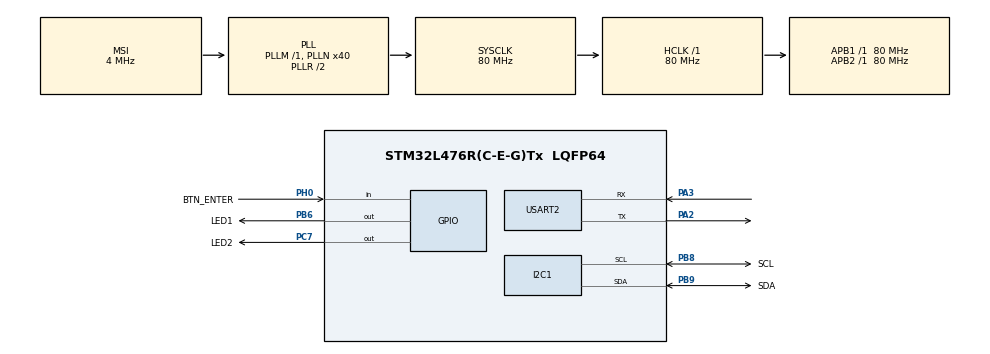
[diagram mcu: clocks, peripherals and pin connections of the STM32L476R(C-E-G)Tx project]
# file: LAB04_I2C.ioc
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I2C1.Timing=0x10909CEC
Mcu.Family=STM32L4
Mcu.Name=STM32L476R(C-E-G)Tx
Mcu.Package=LQFP64
NVIC.PriorityGroup=NVIC_PRIORITYGROUP_4
PA2.Mode=Asynchronous
PA2.Signal=USART2_TX
PA3.Mode=Asynchronous
PA3.Signal=USART2_RX
PB6.GPIO_Label=LED1
PB6.Signal=GPIO_Output
PB8.GPIO_Label=SCL
PB8.Mode=I2C
PB8.Signal=I2C1_SCL
PB9.GPIO_Label=SDA
PB9.Mode=I2C
PB9.Signal=I2C1_SDA
PC7.GPIO_Label=LED2
PC7.Signal=GPIO_Output
PH0-OSC_IN\ (PH0).GPIO_Label=BTN_ENTER
PH0-OSC_IN\ (PH0).Signal=GPIO_Input
ProjectManager.HeapSize=0x200
ProjectManager.StackSize=0x400
ProjectManager.TargetToolchain=STM32CubeIDE
RCC.AHBFreq_Value=80000000
RCC.APB1Freq_Value=80000000
RCC.APB1TimFreq_Value=80000000
RCC.APB2Freq_Value=80000000
RCC.APB2TimFreq_Value=80000000
RCC.CortexFreq_Value=80000000
RCC.HCLKFreq_Value=80000000
RCC.HSE_VALUE=8000000
RCC.HSI_VALUE=16000000
RCC.LSE_VALUE=32768
RCC.MSI_VALUE=4000000
RCC.PLLN=40
RCC.SYSCLKFreq_VALUE=80000000
RCC.SYSCLKSource=RCC_SYSCLKSOURCE_PLLCLK
RCC.VCOOutputFreq_Value=160000000
USART2.VirtualMode-Asynchronous=VM_ASYNC
board=custom

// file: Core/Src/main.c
/* USER CODE BEGIN Header */
/**
 * @file main.c
 * @brief STTS22H Driver Testbench
 * @author Philipp Schilk, 2023
 */
/* USER CODE END Header */
#include "main.h"

/* USER CODE BEGIN Includes */
#include "stts22h_driver.h"
#include <inttypes.h>
#include <stdio.h>
/* USER CODE END Includes */

I2C_HandleTypeDef hi2c1;

UART_HandleTypeDef huart2;

void SystemClock_Config(void);
static void MX_GPIO_Init(void);
static void MX_USART2_UART_Init(void);
static void MX_I2C1_Init(void);
/* USER CODE BEGIN PFP */
void test_driver(void);
void wait_for_button_press(void);

/* USER CODE END PFP */

int main(void) {

  /* MCU Configuration--------------------------------------------------------*/

  /* Reset of all peripherals, Initializes the Flash interface and the Systick. */
  HAL_Init();

  /* Configure the system clock */
  SystemClock_Config();

  /* Initialize all configured peripherals */
  MX_GPIO_Init();
  MX_USART2_UART_Init();
  MX_I2C1_Init();
  /* USER CODE BEGIN 2 */

  test_driver();

  /* USER CODE END 2 */

  /* Infinite loop */
  while (1) {

  }
}

void SystemClock_Config(void) {
  RCC_OscInitTypeDef RCC_OscInitStruct = {0};
  RCC_ClkInitTypeDef RCC_ClkInitStruct = {0};

  /** Configure the main internal regulator output voltage
   */
  if (HAL_PWREx_ControlVoltageScaling(PWR_REGULATOR_VOLTAGE_SCALE1) != HAL_OK) {
    Error_Handler();
  }

  /** Initializes the RCC Oscillators according to the specified parameters
   * in the RCC_OscInitTypeDef structure.
   */
  RCC_OscInitStruct.OscillatorType = RCC_OSCILLATORTYPE_MSI;
  RCC_OscInitStruct.MSIState = RCC_MSI_ON;
  RCC_OscInitStruct.MSICalibrationValue = 0;
  RCC_OscInitStruct.MSIClockRange = RCC_MSIRANGE_6;
  RCC_OscInitStruct.PLL.PLLState = RCC_PLL_ON;
  RCC_OscInitStruct.PLL.PLLSource = RCC_PLLSOURCE_MSI;
  RCC_OscInitStruct.PLL.PLLM = 1;
  RCC_OscInitStruct.PLL.PLLN = 40;
  RCC_OscInitStruct.PLL.PLLP = RCC_PLLP_DIV7;
  RCC_OscInitStruct.PLL.PLLQ = RCC_PLLQ_DIV2;
  RCC_OscInitStruct.PLL.PLLR = RCC_PLLR_DIV2;
  if (HAL_RCC_OscConfig(&RCC_OscInitStruct) != HAL_OK) {
    Error_Handler();
  }

  /** Initializes the CPU, AHB and APB buses clocks
   */
  RCC_ClkInitStruct.ClockType = RCC_CLOCKTYPE_HCLK | RCC_CLOCKTYPE_SYSCLK | RCC_CLOCKTYPE_PCLK1 | RCC_CLOCKTYPE_PCLK2;
  RCC_ClkInitStruct.SYSCLKSource = RCC_SYSCLKSOURCE_PLLCLK;
  RCC_ClkInitStruct.AHBCLKDivider = RCC_SYSCLK_DIV1;
  RCC_ClkInitStruct.APB1CLKDivider = RCC_HCLK_DIV1;
  RCC_ClkInitStruct.APB2CLKDivider = RCC_HCLK_DIV1;

  if (HAL_RCC_ClockConfig(&RCC_ClkInitStruct, FLASH_LATENCY_4) != HAL_OK) {
    Error_Handler();
  }
}

static void MX_I2C1_Init(void) {

  hi2c1.Instance = I2C1;
  hi2c1.Init.Timing = 0x10909CEC;
  hi2c1.Init.OwnAddress1 = 0;
  hi2c1.Init.AddressingMode = I2C_ADDRESSINGMODE_7BIT;
  hi2c1.Init.DualAddressMode = I2C_DUALADDRESS_DISABLE;
  hi2c1.Init.OwnAddress2 = 0;
  hi2c1.Init.OwnAddress2Masks = I2C_OA2_NOMASK;
  hi2c1.Init.GeneralCallMode = I2C_GENERALCALL_DISABLE;
  hi2c1.Init.NoStretchMode = I2C_NOSTRETCH_DISABLE;
  if (HAL_I2C_Init(&hi2c1) != HAL_OK) {
    Error_Handler();
  }

  /** Configure Analogue filter
   */
  if (HAL_I2CEx_ConfigAnalogFilter(&hi2c1, I2C_ANALOGFILTER_ENABLE) != HAL_OK) {
    Error_Handler();
  }

  /** Configure Digital filter
   */
  if (HAL_I2CEx_ConfigDigitalFilter(&hi2c1, 0) != HAL_OK) {
    Error_Handler();
  }
}

static void MX_USART2_UART_Init(void) {

  huart2.Instance = USART2;
  huart2.Init.BaudRate = 115200;
  huart2.Init.WordLength = UART_WORDLENGTH_8B;
  huart2.Init.StopBits = UART_STOPBITS_1;
  huart2.Init.Parity = UART_PARITY_NONE;
  huart2.Init.Mode = UART_MODE_TX_RX;
  huart2.Init.HwFlowCtl = UART_HWCONTROL_NONE;
  huart2.Init.OverSampling = UART_OVERSAMPLING_16;
  huart2.Init.OneBitSampling = UART_ONE_BIT_SAMPLE_DISABLE;
  huart2.AdvancedInit.AdvFeatureInit = UART_ADVFEATURE_NO_INIT;
  if (HAL_UART_Init(&huart2) != HAL_OK) {
    Error_Handler();
  }
}

static void MX_GPIO_Init(void) {
  GPIO_InitTypeDef GPIO_InitStruct = {0};

  /* GPIO Ports Clock Enable */
  __HAL_RCC_GPIOH_CLK_ENABLE();
  __HAL_RCC_GPIOA_CLK_ENABLE();
  __HAL_RCC_GPIOC_CLK_ENABLE();
  __HAL_RCC_GPIOB_CLK_ENABLE();

  /*Configure GPIO pin Output Level */
  HAL_GPIO_WritePin(LED2_GPIO_Port, LED2_Pin, GPIO_PIN_RESET);

  /*Configure GPIO pin Output Level */
  HAL_GPIO_WritePin(LED1_GPIO_Port, LED1_Pin, GPIO_PIN_RESET);

  /*Configure GPIO pin : BTN_ENTER_Pin */
  GPIO_InitStruct.Pin = BTN_ENTER_Pin;
  GPIO_InitStruct.Mode = GPIO_MODE_INPUT;
  GPIO_InitStruct.Pull = GPIO_NOPULL;
  HAL_GPIO_Init(BTN_ENTER_GPIO_Port, &GPIO_InitStruct);

  /*Configure GPIO pin : LED2_Pin */
  GPIO_InitStruct.Pin = LED2_Pin;
  GPIO_InitStruct.Mode = GPIO_MODE_OUTPUT_PP;
  GPIO_InitStruct.Pull = GPIO_NOPULL;
  GPIO_InitStruct.Speed = GPIO_SPEED_FREQ_LOW;
  HAL_GPIO_Init(LED2_GPIO_Port, &GPIO_InitStruct);

  /*Configure GPIO pin : LED1_Pin */
  GPIO_InitStruct.Pin = LED1_Pin;
  GPIO_InitStruct.Mode = GPIO_MODE_OUTPUT_PP;
  GPIO_InitStruct.Pull = GPIO_NOPULL;
  GPIO_InitStruct.Speed = GPIO_SPEED_FREQ_LOW;
  HAL_GPIO_Init(LED1_GPIO_Port, &GPIO_InitStruct);

}

/* USER CODE BEGIN 4 */

void test_driver(void) {

  printf("Press enter button to test sensor communication...\r\n");
  wait_for_button_press();

  // ==== 1: Check if communication is OK ====

  // TODO: Call your completed stts22h_check_communication() function.
  //       If it returns an error, print an error message using printf and
  //       call the Error_Handler() function. Otherwise print a confirmation
  //       message that the sensor communication is OK.
  if (stts22h_check_communication() == STTS22H_OK) {
    printf("Success reading from WHOAMI\r\n");
  } else {
    printf("Error reading from WHOAMI\r\n");
    Error_Handler();
  }

  printf("Press enter button to test free-run mode...\r\n");
  wait_for_button_press();

  // ==== 2: Configure in free-run mode ====
  // TODO: Call your completed stts22h_configure() function to put the
  //       temperature sensor into free-run mode at an output data rate of 25Hz.
  //       If it returns an error, print an error message using printf and
  //       call the Error_Handler() function. Otherwise print a confirmation
  //       message that the sensor was configured correctly.
  if (stts22h_configure(STTS22H_MODE_FREERUN_25HZ) != STTS22H_OK) {
    printf("Sensor config ERROR!\r\n");
    Error_Handler();
  }

  HAL_Delay(100);

  // ==== 3: Read temperature 20 times ====
  for (unsigned int i = 0; i < 20; i++) {
    HAL_Delay(500);

    int16_t temp_decidegree = 0;
    // TODO: Use your stts22h_read_temp() functiont to retrieve the
    //       latest temperature measurement from the stts22h. If it returns
    //       an error, use printf to print an error message and call
    //       the Error_Handler() function.
    if (stts22h_read_temp(&temp_decidegree) != STTS22H_OK) {
      printf("ERROR reading temperature");
      Error_Handler();
    }
    // TODO: Convert temp_decidegree value to actual degrees:
    float temp_degrees = temp_decidegree / 100.0f;

    printf("[%u/20] Current temperature: %.2f\r\n", i + 1, temp_degrees);
  }

  printf("Press enter button to test one-shot mode...\r\n");
  wait_for_button_press();

  // ==== 4: Configure in one-shot mode ====
  // TODO: Call your completed stts22h_configure() function to put the
  //       temperature sensor into one-shot mode.
  //       If it returns an error, print an error message using printf and
  //       call the Error_Handler() function. Otherwise print a confirmation
  //       message that the sensor was configured correctly.
  if (stts22h_configure(STTS22H_MODE_ONE_SHOT) == HAL_OK) {
    printf("Successfully configured to ONE_SHOT\r\n");
  } else {
    printf("ERROR configuring to ONE_SHOT\r\n");
    Error_Handler();
  }

  // ==== 5: On button press: trigger measurement, wait for completion, print result ====
  while (1) {

    // Trigger measurement:
    // TODO: Call your completed stts22h_trigger_oneshot() function to
    //       trigger a single measurement.
    //       If it returns an error, print an error message using printf and
    //       call the Error_Handler() function. Otherwise print a confirmation
    //       message that a measurement was triggered.
    if (stts22h_trigger_oneshot() == HAL_OK) {
      printf("Successfully tiggered one-shot measurement\r\n");
    } else {
      printf("ERROR triggering one-shot measurement\r\n");
      Error_Handler();
    }

    // Wait for measurement to be completed:
    uint32_t cnt = 0;
    while (1) {
      HAL_Delay(10);

      bool is_busy = false;
      // TODO: Call your stts22h_check_is_busy function to determine if the
      //       measurement you triggered is completed. If it returns an error,
      //       use printf to print an error message.
      stts22h_check_is_busy(&is_busy);

      if (!is_busy) {
        break; // Measurement done.
      }

      // Timeout:
      cnt++;
      if (cnt > 20) {
        printf("ERROR: One-shot measurement took too long to complete!\r\n");
        Error_Handler();
      }
    }

    // Retrieve & print measurement:
    int16_t temp_decidegree = 0;
    // TODO Retrieve the current temperature, convert it to degrees, and
    //      print it to the console (just like you did before).
    if (stts22h_read_temp(&temp_decidegree) != STTS22H_OK) {
      printf("ERROR reading temperature");
      Error_Handler();
    }
    // TODO: Convert temp_decidegree value to actual degrees:
    float temp_degrees = temp_decidegree / 100.0f;

    printf("Current temperature: %.2f\r\n", temp_degrees);

    // Wait for button to be pressed before doing another one-shot measurement:
    printf("Press enter to test one-shot measurement...\r\n");
    wait_for_button_press();
  }
}

void wait_for_button_press(void) {
  // If the button is already pressed, wait for button to be released:
  while (HAL_GPIO_ReadPin(BTN_ENTER_GPIO_Port, BTN_ENTER_Pin) == GPIO_PIN_RESET) {
  }
  // Wait for the button to be released:
  while (HAL_GPIO_ReadPin(BTN_ENTER_GPIO_Port, BTN_ENTER_Pin) == GPIO_PIN_SET) {
  }
}

/* USER CODE END 4 */

void Error_Handler(void) {
  /* USER CODE BEGIN Error_Handler_Debug */
  /* User can add his own implementation to report the HAL error return state */
  HAL_GPIO_WritePin(LED1_GPIO_Port, LED1_Pin, 0);
  HAL_GPIO_WritePin(LED2_GPIO_Port, LED2_Pin, 1);
  while (1) {
    HAL_GPIO_TogglePin(LED1_GPIO_Port, LED1_Pin);
    HAL_GPIO_TogglePin(LED2_GPIO_Port, LED2_Pin);
    HAL_Delay(1000);

    printf("Stuck in error handler :(...\r\n");
  }
  /* USER CODE END Error_Handler_Debug */
}
